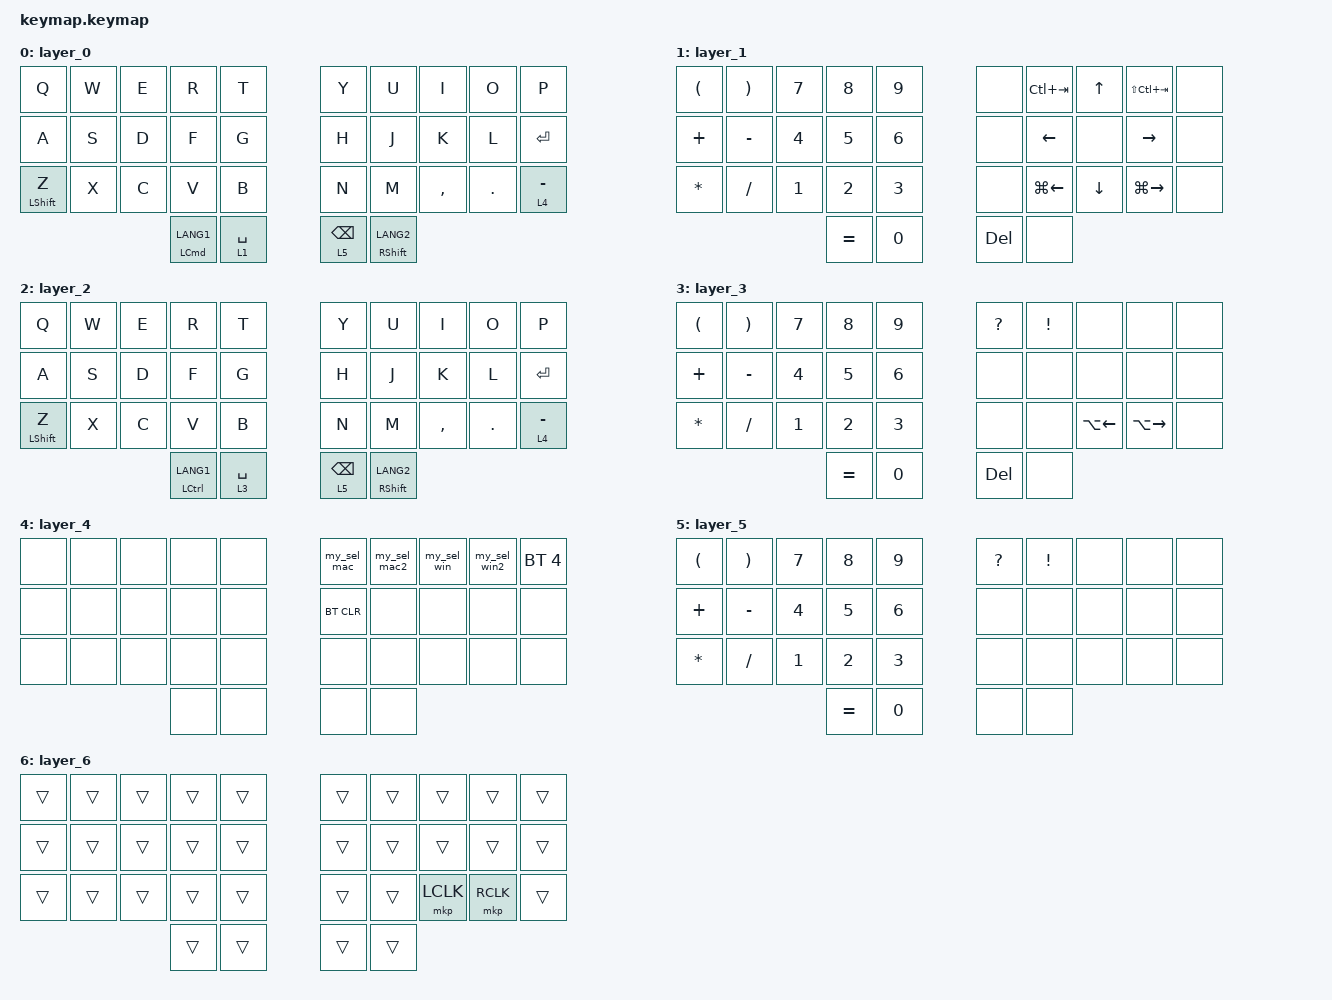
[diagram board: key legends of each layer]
#include <behaviors.dtsi>
#include <dt-bindings/zmk/keys.h>
#include <dt-bindings/zmk/bt.h>
#include <dt-bindings/zmk/pointing.h>

// レイヤー番号の定義
#define MAC   0
#define L1    1
#define WIN   2
#define L3    3
#define L4    4
#define L5    5
#define L6    6

/ {
    macros {
        // Mac (BT0) へ切り替え & Macレイヤー(0) へ
        my_sel_mac: my_sel_mac {
            compatible = "zmk,behavior-macro";
            #binding-cells = <0>;
            bindings = <&macro_tap &bt BT_SEL 0 &macro_tap &to MAC>;
        };

        my_sel_mac2: my_sel_mac2 {
            compatible = "zmk,behavior-macro";
            #binding-cells = <0>;
            bindings = <&macro_tap &bt BT_SEL 1 &macro_tap &to MAC>;
        };

        // Win (BT2) へ切り替え & Winレイヤー(2) へ
        my_sel_win: my_sel_win {
            compatible = "zmk,behavior-macro";
            #binding-cells = <0>;
            bindings = <&macro_tap &bt BT_SEL 2 &macro_tap &to WIN>;
        };

        my_sel_win2: my_sel_win2 {
            compatible = "zmk,behavior-macro";
            #binding-cells = <0>;
            bindings = <&macro_tap &bt BT_SEL 3 &macro_tap &to WIN>;
        };
    };

    keymap {
        compatible = "zmk,keymap";

        // Layer 0: Mac用ベース
        layer_0 {
            bindings = <
                &kp Q &kp W &kp E &kp R &kp T &kp Y &kp U &kp I &kp O &kp P
                &kp A &kp S &kp D &kp F &kp G &kp H &kp J &kp K &kp L &kp ENTER
                &mt LSHIFT Z &kp X &kp C &kp V &kp B &kp N &kp M &kp COMMA &kp PERIOD &lt 4 MINUS
                &mt LCMD LANG1 &lt 1 SPACE &lt 5 BACKSPACE &mt RSHIFT LANG2
            >;
        };

        // Layer 1
        layer_1 {
            bindings = <
                &kp LPAR &kp RPAR &kp N7 &kp N8 &kp N9 &none &kp LC(TAB) &kp UP_ARROW &kp LS(LC(TAB)) &none
                &kp PLUS &kp MINUS &kp N4 &kp N5 &kp N6 &none &kp LEFT_ARROW &none &kp RIGHT_ARROW &none
                &kp ASTERISK &kp SLASH &kp N1 &kp N2 &kp N3 &none &kp LG(LEFT) &kp DOWN_ARROW &kp LG(RIGHT) &none
                &kp EQUAL &kp N0 &kp DEL &none
            >;
        };

        // Layer 2: Windows用ベース
        layer_2 {
            bindings = <
                &kp Q &kp W &kp E &kp R &kp T &kp Y &kp U &kp I &kp O &kp P
                &kp A &kp S &kp D &kp F &kp G &kp H &kp J &kp K &kp L &kp ENTER
                &mt LSHIFT Z &kp X &kp C &kp V &kp B &kp N &kp M &kp COMMA &kp PERIOD &lt 4 MINUS
                &mt LCTRL LANG1 &lt 3 SPACE &lt 5 BACKSPACE &mt RSHIFT LANG2
            >;
        };

        // Layer 3
        layer_3 {
            bindings = <
                &kp LPAR &kp RPAR &kp N7 &kp N8 &kp N9 &kp QMARK &kp EXCL &none &none &none
                &kp PLUS &kp MINUS &kp N4 &kp N5 &kp N6 &none &none &none &none &none
                &kp ASTERISK &kp SLASH &kp N1 &kp N2 &kp N3 &none &none &kp LA(LEFT) &kp LA(RIGHT) &none
                &kp EQUAL &kp N0 &kp DEL &none
            >;
        };

        // Layer 4: 設定 (BT切り替え+スクロールレイヤー)
        layer_4 {
            bindings = <
                &none &none &none &none &none &my_sel_mac &my_sel_mac2 &my_sel_win &my_sel_win2 &bt BT_SEL 4
                &none &none &none &none &none &bt BT_CLR &none &none &none &none
                &none &none &none &none &none &none &none &none &none &none
                &none &none &none &none
            >;
        };

        // Layer 5
        layer_5 {
            bindings = <
                &kp LPAR &kp RPAR &kp N7 &kp N8 &kp N9 &kp QMARK &kp EXCL &none &none &none
                &kp PLUS &kp MINUS &kp N4 &kp N5 &kp N6 &none &none &none &none &none
                &kp ASTERISK &kp SLASH &kp N1 &kp N2 &kp N3 &none &none &none &none &none
                &kp EQUAL &kp N0 &none &none
            >;
        };

        // Layer 6
        layer_6 {
            bindings = <
                &trans &trans &trans &trans &trans &trans &trans &trans &trans &trans
                &trans &trans &trans &trans &trans &trans &trans &trans &trans &trans
                &trans &trans &trans &trans &trans &trans &trans &mkp LCLK &mkp RCLK &trans
                &trans &trans &trans &trans
            >;
        };
    };
};
